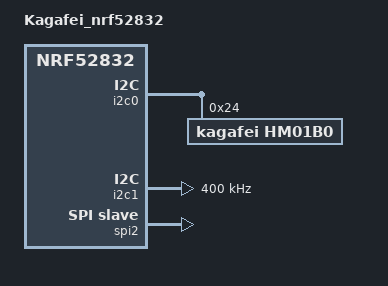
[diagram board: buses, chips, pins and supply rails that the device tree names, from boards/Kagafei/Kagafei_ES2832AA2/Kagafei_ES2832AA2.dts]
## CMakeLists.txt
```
cmake_minimum_required(VERSION 3.20.0)
find_package(Zephyr REQUIRED HINTS $ENV{ZEPHYR_BASE})

project(kagafei_config)

# Deliberately excluded: src/HM01B0/other_cap.c (legacy capture path,
# duplicate symbols), HM01B0_UART.c (uart0 is disabled), and main_old.c /
# main_bringup.c (kept for reference).  JPEGEncoder4Cortex-M encodes each
# frame on-device (with a rewritten fixed-point DCT); BLE streams KJPG frames.
target_sources(app PRIVATE
  src/main.c
  src/ble_manager.c
  src/i2c_diag.c
  src/spis_preinit.c
  src/imu_stream.c
  src/icm42686/icm42686.c
  src/HM01B0/HM01B0_CAPTURE.c
  src/HM01B0/HM01B0_SPI.c
  src/HM01B0/HM01B0_I2C.c
  src/HM01B0/HM01B0_CLK.c
  src/HM01B0/HM01B0_BLE.c
  JPEGEncoder4Cortex-M/jpegencoder.c
)

target_include_directories(app PRIVATE src src/HM01B0 src/icm42686 JPEGEncoder4Cortex-M)
```

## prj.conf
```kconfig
# Camera register access over TWIM0 (i2c0, DT alias "hmm").
CONFIG_I2C=y
CONFIG_CONSOLE=y
CONFIG_PRINTK=y

# Drivers report transport/init failures through the logging subsystem.
# Immediate mode keeps their output interleaved in order with the printk()
# status lines rather than being flushed later out of sequence.
CONFIG_LOG=y
CONFIG_LOG_MODE_IMMEDIATE=y

# Console goes out over SEGGER RTT on the J-Link; uart0 is disabled in the
# board DTS (its pins now carry the camera's HSYNC/VSYNC).
CONFIG_UART_CONSOLE=n
CONFIG_USE_SEGGER_RTT=y
CONFIG_RTT_CONSOLE=y

# MCLK generation for the HM01B0: TIMER3 -> PPI -> GPIOTE toggle on P0.18.
# The sensor's register block is clocked from MCLK, so this must run before I2C.
CONFIG_NRFX_TIMER=y
CONFIG_NRFX_GPIOTE=y
CONFIG_NRFX_GPPI=y

# Pixel capture: the camera masters SPIS2 (PCLKO=SCK, D0=MOSI, LVLD=CSN).
CONFIG_SPI=y
CONFIG_SPI_SLAVE=y

# k_malloc pool for the per-frame frame_item_t handed from capture to BLE.
CONFIG_HEAP_MEM_POOL_SIZE=2048

# Battery: while no central is connected, the capture/IMU/stream threads block
# on a k_event posted by the BLE connected callback (ble_manager.c) instead of
# polling, so the SoC sits in System ON idle between advertising events.
CONFIG_EVENTS=y

# BLE peripheral. The receiver (save_to_file_bt.py) scans for this exact name.
CONFIG_BT=y
CONFIG_BT_PERIPHERAL=y
CONFIG_BT_DEVICE_NAME="insect_cam"
CONFIG_BT_MAX_CONN=1

# Radio output power. +4 dBm is the maximum both the nRF52832 and the ES2832
# module support (datasheet 4.3: PRF typ 4 dBm), and the module is FCC/IC
# certified across its full power-control range, so this needs no re-cert.
#
# This build uses the SoftDevice Controller (CONFIG_BT_LL_SOFTDEVICE=y), not
# Zephyr's software link layer, so it is worth recording how this symbol
# actually reaches the radio: nrf/subsys/bluetooth/controller/radio_nrf5_txp.h
# maps the BT_CTLR_TX_PWR_* choice to RADIO_TXP_DEFAULT, and hci_driver.c calls
# sdc_default_tx_power_set(RADIO_TXP_DEFAULT) -- but only under
# `#if RADIO_TXP_DEFAULT != 0`. At the previous default (TX_PWR_0) that call
# compiled out entirely and the controller ran its own 0 dBm default, so the
# setting was invisible in a disassembly and easy to mistake for "unset".
CONFIG_BT_CTLR_TX_PWR_PLUS_4=y

# ble_manager.c registers .le_phy_updated/.le_data_len_updated callbacks,
# which only exist under the USER_* options. Enabling USER_* flips the
# AUTO_* defaults to n, so force them back on: the host must keep negotiating
# PHY/DLE itself — driving the PHY manually crashes this controller.
CONFIG_BT_USER_PHY_UPDATE=y
CONFIG_BT_AUTO_PHY_UPDATE=y
CONFIG_BT_USER_DATA_LEN_UPDATE=y
CONFIG_BT_AUTO_DATA_LEN_UPDATE=y

# Throughput: 244-byte notification payloads (ble_stage[244] in ble_manager.c)
# need ATT MTU 247 and 251-byte LL payloads end to end.
CONFIG_BT_L2CAP_TX_MTU=247
CONFIG_BT_BUF_ACL_TX_SIZE=251
CONFIG_BT_BUF_ACL_RX_SIZE=251
CONFIG_BT_CTLR_DATA_LENGTH_MAX=251

# Connection-parameter retries and re-advertise run as delayable work items
# that call into the BT host; the 1 KB default workqueue stack is marginal.
CONFIG_SYSTEM_WORKQUEUE_STACK_SIZE=2048

# The GATT write callback (on_rx_received) runs on the BT host RX thread, and
# with LOG_MODE_IMMEDIATE every printk formats the message and writes RTT on
# THAT thread's stack (~400 B for a two-arg message on Cortex-M3, more with 7).
# The 1 KB default overflowed into the MPU guard on the multi-arg link-info
# printk after a stream-start write. Nordic known issue DRGN-17695.
CONFIG_BT_RX_STACK_SIZE=2048

# main() never returns (it runs stream_photos()) and printks from there.  The
# thread analyzer measured a 920 B peak against the 1128 B default -- 232 B of
# headroom, the thinnest margin in the system once BT RX was fixed.
CONFIG_MAIN_STACK_SIZE=1536

# Measured peaks (thread analyzer, streaming + reconnect, 2026-07-28) for the
# next time these need sizing.  Re-measure by temporarily adding
# CONFIG_THREAD_NAME/THREAD_ANALYZER/THREAD_ANALYZER_AUTO:
#   BT RX WQ 1016/2048   main 920/1152   ble_stream 776/2048  sysworkq 784/2048
#   ble_mgr 632/1024     imu 632/1024    capture-line 392/768 bt_tx_proc 392/704
```

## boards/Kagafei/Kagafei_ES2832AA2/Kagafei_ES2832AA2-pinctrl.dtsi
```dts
&pinctrl {
	/* SPIS2 receives the camera's pixel stream: the HM01B0 is the SPI master.
	 * PCLKO drives SCK, D0 drives MOSI, and LVLD (HSYNC) doubles as CSN so
	 * each line burst frames one SPIS transfer. MISO is deliberately not
	 * assigned — nothing ever clocks data back to the camera.
	 */
	spis2_default: spis2_default {
		group1 {
			psels = <NRF_PSEL(SPIS_SCK, 0, 7)>,
				<NRF_PSEL(SPIS_MOSI, 0, 20)>,
				<NRF_PSEL(SPIS_CSN, 0, 6)>;
		};
	};

	spis2_sleep: spis2_sleep {
		group1 {
			psels = <NRF_PSEL(SPIS_SCK, 0, 7)>,
				<NRF_PSEL(SPIS_MOSI, 0, 20)>,
				<NRF_PSEL(SPIS_CSN, 0, 6)>;
			low-power-enable;
		};
	};

	i2c0_default: i2c0_default {
		group1 {
			/* SCL is P0.00/XL1, usable as GPIO because the LFCLK runs
			 * from the internal RC oscillator (see _defconfig).
			 */
			psels = <NRF_PSEL(TWIM_SCL, 0, 0)>,
				<NRF_PSEL(TWIM_SDA, 0, 5)>;
		};
	};

	i2c0_sleep: i2c0_sleep {
		group1 {
			psels = <NRF_PSEL(TWIM_SCL, 0, 0)>,
				<NRF_PSEL(TWIM_SDA, 0, 5)>;
			low-power-enable;
		};
	};

	/* Second I2C bus, for the ICM-42686-P IMU. Electrically separate from
	 * i2c0/the camera: TWIM1 is a different peripheral instance on different
	 * pins, so the two buses share nothing but the GPIO block.
	 */
	i2c1_default: i2c1_default {
		group1 {
			psels = <NRF_PSEL(TWIM_SCL, 0, 28)>,
				<NRF_PSEL(TWIM_SDA, 0, 2)>;
			/* Internal pull-ups (~13k) so the bus idles high even if the
			 * IMU breakout has no external ones fitted. Harmless in
			 * parallel with external pull-ups if it does.
			 */
			bias-pull-up;
		};
	};

	i2c1_sleep: i2c1_sleep {
		group1 {
			psels = <NRF_PSEL(TWIM_SCL, 0, 28)>,
				<NRF_PSEL(TWIM_SDA, 0, 2)>;
			low-power-enable;
		};
	};
};
```

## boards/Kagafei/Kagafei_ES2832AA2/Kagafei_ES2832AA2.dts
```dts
/dts-v1/;
#include <nordic/nrf52832_qfaa.dtsi>
#include <zephyr/dt-bindings/i2c/i2c.h>
#include "Kagafei_ES2832AA2-pinctrl.dtsi"

/ {
	model = "Kagafei_nrf52832";
	compatible = "Kagafei,Kagafei-ES2832AA2";

	chosen {
		zephyr,sram = &sram0;
		zephyr,flash = &flash0;
		zephyr,code-partition = &slot0_partition;
	};

	aliases {
		hmm = &hm01b0;
	};
};

&gpiote {
	status = "okay";
};

&gpio0 {
	/* Only P0.00-P0.10, P0.18, P0.20, P0.21 and P0.28 are bonded out. */
	gpio-reserved-ranges = <11 7>, <19 1>, <22 6>, <29 3>;
	status = "okay";
};

/* Disabled: P0.06/P0.08 now carry the camera's HSYNC/VSYNC and the console
 * runs over SEGGER RTT (prj.conf). No UART pins remain on this module.
 */
&uart0 {
	status = "disabled";
};

&i2c0 {
	compatible = "nordic,nrf-twim";
	status = "okay";
	pinctrl-0 = <&i2c0_default>;
	pinctrl-1 = <&i2c0_sleep>;
	pinctrl-names = "default", "sleep";

	/* HM01B0 register interface; I2C_DT_SPEC_GET(DT_ALIAS(hmm)) pulls the
	 * bus and 7-bit address from this node.
	 */
	hm01b0: hm01b0@24 {
		compatible = "kagafei,hm01b0";
		reg = <0x24>;
	};
};

/* TWIM1 -- the IMU's bus. Note i2c1 and spi1 are the same hardware instance
 * (0x40004000) on this SoC, so spi1 must stay disabled while this is in use.
 */
&i2c1 {
	compatible = "nordic,nrf-twim";
	status = "okay";
	clock-frequency = <I2C_BITRATE_FAST>;
	pinctrl-0 = <&i2c1_default>;
	pinctrl-1 = <&i2c1_sleep>;
	pinctrl-names = "default", "sleep";
};

/* SPIS2 -- the camera's pixel-data interface (HM01B0 is the SPI master).
 * Instance 2 is the only free serial block: instance 0 is TWIM0 (camera I2C)
 * and instance 1 is TWIM1 (IMU bus). The gendev child only exists so
 * SPI_DT_SPEC_GET in HM01B0_SPI.c can expand its spi-device properties.
 */
&spi2 {
	compatible = "nordic,nrf-spis";
	status = "okay";
	def-char = <0x00>;
	pinctrl-0 = <&spis2_default>;
	pinctrl-1 = <&spis2_sleep>;
	pinctrl-names = "default", "sleep";

	gendev: gendev@0 {
		compatible = "kagafei,spis-gendev";
		reg = <0>;
		spi-max-frequency = <4000000>;
	};
};

&flash0 {
	partitions {
		compatible = "fixed-partitions";
		#address-cells = <1>;
		#size-cells = <1>;

		boot_partition: partition@0 {
			label = "mcuboot";
			reg = <0x00000000 DT_SIZE_K(48)>;
		};

		slot0_partition: partition@c000 {
			label = "image-0";
			reg = <0x0000c000 DT_SIZE_K(220)>;
		};

		slot1_partition: partition@43000 {
			label = "image-1";
			reg = <0x00043000 DT_SIZE_K(220)>;
		};

		storage_partition: partition@7a000 {
			label = "storage";
			reg = <0x0007a000 DT_SIZE_K(24)>;
		};
	};
};
```

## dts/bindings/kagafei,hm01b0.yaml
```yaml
# HM01B0 register interface node. Exists so I2C_DT_SPEC_GET(DT_ALIAS(hmm))
# resolves the bus and 7-bit address; the driver lives in src/HM01B0, nothing
# in-tree binds to this compatible.
description: Himax HM01B0 image sensor control interface (registers over I2C)

compatible: "kagafei,hm01b0"

include: i2c-device.yaml
```

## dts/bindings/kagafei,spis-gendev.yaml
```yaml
# Generic SPIS peer device node. Exists so SPI_DT_SPEC_GET(DT_NODELABEL(gendev))
# has the spi-device properties (spi-max-frequency, duplex, frame-format) it
# expands; no driver binds to it — the camera is the SPI master.
description: Generic SPIS peer device for SPI_DT_SPEC_GET

compatible: "kagafei,spis-gendev"

include: spi-device.yaml
```

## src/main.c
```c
/*
 * Kagafei module: HM01B0 capture -> JPEG -> BLE live view.
 *
 * Flow: MCLK out on P0.18, sensor configured over i2c0, pixel lines land via
 * SPIS2 (PCLKO=SCK P0.07, D0=MOSI P0.20, LVLD=CSN P0.06), VSYNC on P0.08
 * frames each capture, and ble_manager streams each 160x119 8-bit grayscale
 * frame to the "insect_cam" GATT service (receiver: save_to_file_bt.py).
 * Wire format is selected by BLE_STREAM_RAW in ble_manager.c: KJPG = q90
 * on-device JPEG, ~3 fps, lossy (current); KRAW = every pixel byte verbatim,
 * lossless, ~1.1 fps.
 */

#include <zephyr/kernel.h>
#include <zephyr/device.h>
#include <zephyr/sys/printk.h>
#include <hal/nrf_power.h>

#include "HM01B0/HM01B0_def_values.h"
#include "HM01B0/HM01B0_CAPTURE.h"
#include "HM01B0/HM01B0_BLE.h"
#include "imu_stream.h"
#include "i2c_diag.h"

/* Temporary IMU-only bringup: skip the camera and BLE entirely and print
 * ICM-42686 samples over RTT.  Set to 0 to restore the normal stream. */
#define IMU_ONLY_TEST 0

/* Power-floor test: measure what the BOARD draws with the firmware doing
 * nothing at all.  Phase 1: 15 s of System ON idle -- only the kernel tick and
 * the devicetree-initialized peripherals (TWIM/SPIS/pinctrl), no camera, no
 * MCLK, no BLE, no IMU.  Phase 2: System OFF forever (~0.3 uA for a bare
 * nRF52832; a power cycle restarts).  Reading the phases on the PPK:
 *   - Phase 2 above ~10 uA  -> external hardware (LED, regulator, sensor
 *     rails, pin conflict), not the nRF and not firmware.
 *   - Phase 1 mA-level but phase 2 clean -> a DT-enabled peripheral or pin
 *     state inside the nRF.
 *   - Both clean            -> the draw is in the app path; bisect there.
 * Set to 0 to restore the normal stream. */
#define POWER_FLOOR_TEST 0

struct k_fifo my_fifo_ble;

/* An all-zero RESETREAS on a repeating reset means brownout/power-on: the
 * supply is sagging, which also keeps the sensor's rails from coming up.
 * Cleared after reading, since the bits are cumulative.
 */
static void report_reset_reason(void)
{
	uint32_t reas = nrf_power_resetreas_get(NRF_POWER);

	nrf_power_resetreas_clear(NRF_POWER, reas);

	printk("Reset reason  : 0x%08x", reas);

	if (reas == 0) {
		printk(" -- power-on / BROWNOUT (no other source flagged)");
	}
	if (reas & NRF_POWER_RESETREAS_RESETPIN_MASK) {
		printk(" RESETPIN");
	}
	if (reas & NRF_POWER_RESETREAS_DOG_MASK) {
		printk(" WATCHDOG");
	}
	if (reas & NRF_POWER_RESETREAS_SREQ_MASK) {
		printk(" SOFT_RESET");
	}
	if (reas & NRF_POWER_RESETREAS_LOCKUP_MASK) {
		printk(" CPU_LOCKUP");
	}
	if (reas & NRF_POWER_RESETREAS_OFF_MASK) {
		printk(" WAKE_FROM_OFF");
	}
	if (reas & NRF_POWER_RESETREAS_DIF_MASK) {
		printk(" DEBUG_IF");
	}

	printk("\n");
}

#if POWER_FLOOR_TEST

int main(void)
{
	printk("\n=== POWER FLOOR TEST: 15 s System ON idle, then System OFF ===\n");
	report_reset_reason();

	/* Force the lowest System ON state so phase 1 is the board's best case:
	 * GPIOTE fully disabled (the SPIS driver's anomaly-109 workaround claims a
	 * channel at init, and any Task/Event-mode channel holds the 16 MHz clock
	 * on through sleep), serial peripherals off, and the camera's MCLK input
	 * driven low so it cannot float (a floating CMOS input in the sensor can
	 * draw milliamps that the normal firmware, which drives this pin, never
	 * sees). */
	NRF_GPIOTE->INTENCLR = 0xFFFFFFFF;
	for (int ch = 0; ch < 8; ch++) {
		NRF_GPIOTE->CONFIG[ch] = 0;
	}
	NRF_SPIS2->ENABLE = 0;
	NRF_TWIM0->ENABLE = 0;
	NRF_TWIM1->ENABLE = 0;
	NRF_P0->PIN_CNF[PIN_MCLK] =
		(GPIO_PIN_CNF_DIR_Output << GPIO_PIN_CNF_DIR_Pos) |
		(GPIO_PIN_CNF_INPUT_Disconnect << GPIO_PIN_CNF_INPUT_Pos);
	NRF_P0->OUTCLR = BIT(PIN_MCLK);

	k_sleep(K_SECONDS(15));

	printk("Entering System OFF (power cycle to restart)\n");
	nrf_power_system_off(NRF_POWER);

	return 0;
}

#elif IMU_ONLY_TEST
#include "icm42686.h"
#include <zephyr/drivers/i2c.h>

/* A blind 1-byte read ACK-tests each address (nrfx TWIM rejects 0-length
 * transfers, so the usual empty-write probe is not an option here). */
static int i2c_scan(const struct device *dev, const char *name)
{
	int found = 0;

	printk("I2C scan %s:", name);
	for (uint8_t addr = 0x08; addr <= 0x77; addr++) {
		uint8_t b;

		if (i2c_read(dev, &b, 1, addr) == 0) {
			printk(" 0x%02X", addr);
			found++;
		}
	}
	printk("%s\n", found ? "" : " -- no ACKs");
	return found;
}

int main(void)
{
	printk("\n=== Kagafei IMU-only test (camera + BLE disabled) ===\n");
	report_reset_reason();

	i2c_diag_all();

	const struct device *i2c1_dev = DEVICE_DT_GET(DT_NODELABEL(i2c1));
	const struct device *i2c0_dev = DEVICE_DT_GET(DT_NODELABEL(i2c0));

	if (!device_is_ready(i2c1_dev)) {
		printk("i2c1 not ready\n");
		return -ENODEV;
	}
	/* Keep retrying so wiring/power can be wiggled while watching RTT.
	 * Both buses are scanned every pass (not one-shot at boot, which the
	 * 1 KB RTT buffer can drop before the host attaches): camera should
	 * ACK at 0x24 if its rail is up (it answers I2C without MCLK). */
	while (icm42686_init() != 0) {
		if (device_is_ready(i2c0_dev)) {
			i2c_scan(i2c0_dev, "i2c0 (camera bus)");
		}
		i2c_scan(i2c1_dev, "i2c1 (IMU bus, SCL P0.28 SDA P0.02)");
		printk("ICM-42686 not found; retrying in 2 s\n");
		k_msleep(2000);
	}

	printk("ICM-42686 found at 0x%02X, printing samples at 10 Hz\n",
	       icm42686_get_addr());

	for (uint32_t n = 0;; n++) {
		int16_t t, a[3], g[3];

		/* Re-confirm the camera bus every ~5 s while streaming. */
		if (n % 50 == 0 && device_is_ready(i2c0_dev)) {
			i2c_scan(i2c0_dev, "i2c0 (camera bus)");
		}

		if (icm42686_read_sample(&t, a, g) != 0) {
			printk("[%5u] read error\n", n);
		} else {
			/* Temp degC = raw/132.48 + 25, printed in centi-degC */
			int32_t temp_cc = (int32_t)t * 10000 / 13248 + 2500;

			printk("[%5u] accel mg: %6d %6d %6d | gyro dps*10: %6d %6d %6d | temp %d.%02u C\n",
			       n,
			       (int32_t)a[0] * 1000 / ICM42686_ACCEL_LSB_PER_G,
			       (int32_t)a[1] * 1000 / ICM42686_ACCEL_LSB_PER_G,
			       (int32_t)a[2] * 1000 / ICM42686_ACCEL_LSB_PER_G,
			       (int32_t)g[0] * 100 / ICM42686_GYRO_LSB_PER_DPS_X10,
			       (int32_t)g[1] * 100 / ICM42686_GYRO_LSB_PER_DPS_X10,
			       (int32_t)g[2] * 100 / ICM42686_GYRO_LSB_PER_DPS_X10,
			       temp_cc / 100,
			       (unsigned)((temp_cc < 0 ? -temp_cc : temp_cc) % 100));
		}
		k_msleep(100);
	}

	return 0;
}

#else /* !IMU_ONLY_TEST: normal camera + IMU + BLE stream */

int main(void)
{
	printk("\n=== Kagafei camera + BLE ===\n");
	report_reset_reason();

	/* Before any transfer: if the lines cannot idle high, every probe below
	 * would just report -ETIMEDOUT without saying why. */
	i2c_diag_all();

	if (!device_is_ready(dev_i2c.bus)   ||
	    !device_is_ready(gpio0_dev)     ||
	    !device_is_ready(spis_dev.bus)) {
		printk("Device not ready\n");
		return -ENODEV;
	}

	k_fifo_init(&my_fifo_ble);
	/* BLE-only live view: feed frames to BLE alone so the capture loop isn't
	 * gated by (or competing for CPU with) any other consumer.
	 */
	setup_cam_capture(&my_fifo_ble, NULL);
	hm_ble_init(&my_fifo_ble);

	/* Spot-check that init_cam()'s configuration actually landed. */
	uint8_t addr_readback[2];
	uint8_t val;

	addr_readback[0] = 0x03; addr_readback[1] = 0x50;
	if (i2c_write_read_dt(&dev_i2c, addr_readback, 2, &val, 1) == 0) {
		printk("QVGA win (0x0350) = 0x%02X\n", val);
	}

	addr_readback[0] = 0x03; addr_readback[1] = 0x81;
	if (i2c_write_read_dt(&dev_i2c, addr_readback, 2, &val, 1) == 0) {
		printk("BIN_RDOUT_Y (0x0381) = 0x%02X\n", val);
	}

	addr_readback[0] = 0x10; addr_readback[1] = 0x06;
	if (i2c_write_read_dt(&dev_i2c, addr_readback, 2, &val, 1) == 0) {
		printk("IMG_MODE_SEL (0x1006) = 0x%02X\n", val);
	}

	/* IMU is optional: a missing/dead ICM-42686 must not take down the camera. */
	if (imu_stream_start() != 0) {
		printk("ICM-42686 not available -- streaming camera only\n");
	}

	printk("Starting capture loop\n");
	stream_photos();

	return 0;
}

#endif /* IMU_ONLY_TEST */
```

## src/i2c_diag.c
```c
#include "i2c_diag.h"

#include <zephyr/kernel.h>
#include <zephyr/sys/printk.h>
#include <nrfx.h>
#include <hal/nrf_gpio.h>
#include <hal/nrf_twim.h>

/* Pin assignments mirror the pinctrl groups in the board DTS:
 *   i2c0 (HM01B0)   SCL P0.00  SDA P0.05   -- no bias-pull-up, external only
 *   i2c1 (ICM-42686) SCL P0.28 SDA P0.02   -- bias-pull-up set in pinctrl
 */
#define I2C0_SCL_PIN 0
#define I2C0_SDA_PIN 5
#define I2C1_SCL_PIN 28
#define I2C1_SDA_PIN 2

/* The nRF52832's internal pull resistors are ~13 kohm (datasheet RPU/RPD,
 * typ).  I2C pull-ups are normally 2.2k-10k, so an external pull-up beats the
 * internal pull-down and the line still reads high -- that asymmetry is what
 * makes the three states below distinguishable.
 *
 * Settling: 13k into a few hundred pF of bus capacitance is a ~1-2 us time
 * constant, so 200 us is many time constants even for a heavily loaded bus. */
#define SETTLE_US 200

enum line_state {
	LINE_STUCK_LOW,   /* held low even against the internal pull-up */
	LINE_NO_PULLUP,   /* floats; no external pull-up strong enough to see */
	LINE_PULLED_UP,   /* external pull-up present and healthy */
};

static uint32_t read_with(uint32_t pin, nrf_gpio_pin_pull_t pull)
{
	nrf_gpio_cfg_input(pin, pull);
	k_busy_wait(SETTLE_US);
	return nrf_gpio_pin_read(pin);
}

/* Order matters: the raw read has to happen before we charge the pin with an
 * internal pull, otherwise a floating line reports whatever the last pull left
 * on it. */
static enum line_state probe_line(uint32_t pin, uint32_t *raw,
				  uint32_t *with_pu, uint32_t *with_pd)
{
	*raw     = read_with(pin, NRF_GPIO_PIN_NOPULL);
	*with_pu = read_with(pin, NRF_GPIO_PIN_PULLUP);
	*with_pd = read_with(pin, NRF_GPIO_PIN_PULLDOWN);

	if (*with_pu == 0) {
		/* 13k to VDD could not lift it: something is actively driving
		 * low -- a slave mid-transfer, a stuck device, or a short. */
		return LINE_STUCK_LOW;
	}
	if (*with_pd == 1) {
		/* Survived a 13k pull-down, so an external pull-up is winning. */
		return LINE_PULLED_UP;
	}
	return LINE_NO_PULLUP;
}

static const char *state_str(enum line_state s)
{
	switch (s) {
	case LINE_PULLED_UP: return "PULLED UP (external)";
	case LINE_NO_PULLUP: return "NO PULL-UP (floating)";
	default:             return "STUCK LOW (driven)";
	}
}

static enum line_state report_line(const char *name, uint32_t pin)
{
	uint32_t raw, pu, pd;
	enum line_state st = probe_line(pin, &raw, &pu, &pd);

	printk("    %s P0.%02u : raw=%u pu=%u pd=%u  -> %s\n",
	       name, pin, raw, pu, pd, state_str(st));
	return st;
}

static void bus_diag(const char *label, NRF_TWIM_Type *twim,
		     uint32_t scl_pin, uint32_t sda_pin)
{
	/* Take the pins back from TWIM, then hand them over exactly as found. */
	uint32_t saved_enable = twim->ENABLE;
	uint32_t saved_scl    = NRF_P0->PIN_CNF[scl_pin];
	uint32_t saved_sda    = NRF_P0->PIN_CNF[sda_pin];

	twim->ENABLE = 0;

	printk("  %s\n", label);
	enum line_state scl = report_line("SCL", scl_pin);
	enum line_state sda = report_line("SDA", sda_pin);

	if (scl == LINE_PULLED_UP && sda == LINE_PULLED_UP) {
		printk("    verdict: bus OK electrically "
		       "(a failing transfer means the device is absent or unpowered)\n");
	} else if (scl == LINE_STUCK_LOW || sda == LINE_STUCK_LOW) {
		printk("    verdict: LINE HELD LOW -- a slave is hung or a line is "
		       "shorted to GND; clock out 9 pulses to recover, or power-cycle\n");
	} else {
		printk("    verdict: NO PULL-UPS -- the bus can never idle high, so every "
		       "transfer times out; fit external resistors or set bias-pull-up\n");
	}

	NRF_P0->PIN_CNF[scl_pin] = saved_scl;
	NRF_P0->PIN_CNF[sda_pin] = saved_sda;
	twim->ENABLE = saved_enable;
}

void i2c_diag_all(void)
{
	printk("\n=== I2C line check ===\n");
	printk("  raw/pu/pd = level read with no pull / internal pull-up / "
	       "internal pull-down (~13k)\n");

	bus_diag("i2c0  HM01B0 camera", NRF_TWIM0, I2C0_SCL_PIN, I2C0_SDA_PIN);
	bus_diag("i2c1  ICM-42686 IMU", NRF_TWIM1, I2C1_SCL_PIN, I2C1_SDA_PIN);
	printk("\n");
}
```

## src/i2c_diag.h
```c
#ifndef I2C_DIAG_H
#define I2C_DIAG_H

/* Electrical check of the two I2C buses before any transfer is attempted.
 *
 * A TWIM transfer that ends in -ETIMEDOUT cannot distinguish "no pull-up
 * resistor fitted" from "a slave is holding the line low" from "the device is
 * simply absent" -- in all three cases the controller just never sees the bus
 * go high.  This probes the lines directly with the SoC's own pull resistors
 * and reports which of those it actually is.
 *
 * Safe to call with the TWIM drivers already initialised: each bus is
 * disabled, probed, and restored to the exact configuration it had.
 */
void i2c_diag_all(void);

#endif /* I2C_DIAG_H */
```

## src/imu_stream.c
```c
/* 100 Hz ICM-42686 sampler feeding a drop-oldest ring that the BLE streaming
 * thread drains into KIMU packets between camera frames (ble_stream_imu in
 * ble_manager.c).  The sensor's ODR stays at 1 kHz; reading every 10 ms is
 * the decimation down to the ~100 Hz the link carries.
 */

#include <zephyr/kernel.h>
#include <zephyr/spinlock.h>
#include <zephyr/sys/printk.h>

#include "imu_stream.h"
#include "icm42686.h"

/* Connection gate (ble_manager.c): sampling pauses while no central is
 * connected -- nothing drains the ring then, so running the IMU and the 100 Hz
 * I2C traffic would only burn battery. */
extern bool ble_is_connected(void);
extern void ble_wait_for_connection(void);

#define IMU_SAMPLE_PERIOD_MS 10

/* 128 * 16 B = 2 KB: 1.28 s of backlog.  Frame gaps are 100-330 ms and the
 * capture stall watchdog is 500 ms, so only a BLE link that has been wedged
 * for over a second overflows this -- at which point the oldest samples are
 * stale and dropping them is the right call. */
#define IMU_RING_SIZE 128

static struct imu_sample ring[IMU_RING_SIZE];
static uint32_t ring_head;   /* next write slot */
static uint32_t ring_tail;   /* next read slot */
static uint32_t ring_count;
static struct k_spinlock ring_lock;

static bool imu_active;
static int16_t last_temp_raw;
static uint32_t dropped_total;
static uint32_t read_errors;

K_THREAD_STACK_DEFINE(imu_stack, 1024);
static struct k_thread imu_thread_data;

static void ring_push(const struct imu_sample *s)
{
	uint32_t dropped = 0;

	k_spinlock_key_t key = k_spin_lock(&ring_lock);
	if (ring_count == IMU_RING_SIZE) {
		ring_tail = (ring_tail + 1U) % IMU_RING_SIZE;   /* drop oldest */
		ring_count--;
		dropped = ++dropped_total;
	}
	ring[ring_head] = *s;
	ring_head = (ring_head + 1U) % IMU_RING_SIZE;
	ring_count++;
	k_spin_unlock(&ring_lock, key);

	if (dropped != 0 && (dropped % 256U) == 1U) {
		printk("IMU ring overflow (%u dropped total)\n", dropped);
	}
}

static void ring_reset(void)
{
	k_spinlock_key_t key = k_spin_lock(&ring_lock);
	ring_head = 0;
	ring_tail = 0;
	ring_count = 0;
	k_spin_unlock(&ring_lock, key);
}

bool imu_stream_pop(struct imu_sample *out)
{
	bool ok = false;

	k_spinlock_key_t key = k_spin_lock(&ring_lock);
	if (ring_count > 0) {
		*out = ring[ring_tail];
		ring_tail = (ring_tail + 1U) % IMU_RING_SIZE;
		ring_count--;
		ok = true;
	}
	k_spin_unlock(&ring_lock, key);

	return ok;
}

size_t imu_stream_pending(void)
{
	k_spinlock_key_t key = k_spin_lock(&ring_lock);
	uint32_t n = ring_count;
	k_spin_unlock(&ring_lock, key);

	return n;
}

bool imu_stream_active(void)
{
	return imu_active;
}

int16_t imu_stream_last_temp_raw(void)
{
	return last_temp_raw;
}

static void imu_thread(void *p1, void *p2, void *p3)
{
	ARG_UNUSED(p1); ARG_UNUSED(p2); ARG_UNUSED(p3);

	int64_t next = k_uptime_get();

	for (;;) {
		if (!ble_is_connected()) {
			/* Park: sensor to standby, drop the now-stale backlog (a
			 * reconnect must not open with seconds-old samples), and
			 * sleep until the next central. */
			icm42686_sleep();
			ring_reset();
			ble_wait_for_connection();
			icm42686_wake();
			next = k_uptime_get();
			continue;
		}

		next += IMU_SAMPLE_PERIOD_MS;
		/* Drift-free pacing; if higher-priority work held us off for a
		 * while, resync instead of burst-reading to catch up. */
		if (next < k_uptime_get() - 2 * IMU_SAMPLE_PERIOD_MS) {
			next = k_uptime_get();
		}
		k_sleep(K_TIMEOUT_ABS_MS(next));

		struct imu_sample s;
		int16_t t;

		if (icm42686_read_sample(&t, s.accel, s.gyro) == 0) {
			s.ts_ms = (uint32_t)k_uptime_get();
			last_temp_raw = t;
			ring_push(&s);
		} else if ((++read_errors % 100U) == 1U) {
			printk("IMU read error (%u total)\n", read_errors);
		}
	}
}

int imu_stream_start(void)
{
	int err = icm42686_init();

	if (err != 0) {
		return err;
	}

	imu_active = true;
	/* Prio 4: below the capture line thread (0) and the BLE threads (3),
	 * so sampling can never delay a line transfer or a notify.  Each
	 * sample carries its own timestamp, so jitter here is harmless. */
	k_thread_create(&imu_thread_data, imu_stack, K_THREAD_STACK_SIZEOF(imu_stack),
			imu_thread, NULL, NULL, NULL,
			K_PRIO_PREEMPT(4), 0, K_NO_WAIT);

	return 0;
}
```

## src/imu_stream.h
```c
#ifndef IMU_STREAM_H
#define IMU_STREAM_H

#include <stdbool.h>
#include <stddef.h>
#include <stdint.h>

/* One decimated IMU sample: uptime timestamp plus raw counts straight from
 * the ICM-42686 (accel 2048 LSB/g, gyro 16.4 LSB/dps -- see icm42686.h). */
struct imu_sample {
	uint32_t ts_ms;
	int16_t accel[3];
	int16_t gyro[3];
};

/* Bring up the ICM-42686 on i2c1 and start the 100 Hz sampling thread.
 * Returns 0 on success, negative errno if the IMU is absent/unresponsive.
 * Failure is non-fatal: without it the app just streams camera-only. */
int imu_stream_start(void);

bool imu_stream_active(void);

size_t imu_stream_pending(void);

/* Pop the oldest buffered sample. Returns false if the ring is empty. */
bool imu_stream_pop(struct imu_sample *out);

/* Raw temperature register of the most recent sample. */
int16_t imu_stream_last_temp_raw(void);

#endif /* IMU_STREAM_H */
```

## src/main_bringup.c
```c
#include <zephyr/kernel.h>
#include <zephyr/device.h>
#include <zephyr/drivers/i2c.h>
#include <zephyr/sys/printk.h>
#include <hal/nrf_gpio.h>
#include <hal/nrf_power.h>

#include "HM01B0_CLK.h"
#include "icm42686.h"

#define HM01B0_ADDR 0x24

/* Camera bus: i2c0 / TWIM0. */
#define PIN_SCL 0
#define PIN_SDA 5

/* IMU bus: i2c1 / TWIM1. A separate peripheral instance on separate pins, so
 * nothing here can disturb the camera's bus.
 */
#define PIN_IMU_SCL 28
#define PIN_IMU_SDA 2

/* HM01B0 uses 16-bit register addresses with 8-bit data (datasheet §7). */
#define REG_MODEL_ID_H  0x0000
#define REG_MODEL_ID_L  0x0001
#define REG_SILICON_REV 0x0002
#define REG_FRAME_COUNT 0x0005
#define REG_PIXEL_ORDER 0x0006
#define REG_MODE_SELECT 0x0100

#define HM01B0_MODEL_ID 0x01B0

/* How long to let MCLK run before touching the sensor over I2C. At the 2.67 MHz
 * MCLK we generate, this is several hundred thousand clocks -- far more than the
 * sensor's internal reset needs.
 */
#define HM01B0_MCLK_SETTLE_MS 100

static const struct device *const i2c_dev = DEVICE_DT_GET(DT_NODELABEL(i2c0));
static const struct device *const imu_i2c_dev = DEVICE_DT_GET(DT_NODELABEL(i2c1));

static int hm01b0_read_reg(uint16_t reg, uint8_t *val)
{
	uint8_t addr_buf[2] = { reg >> 8, reg & 0xFF };

	return i2c_write_read(i2c_dev, HM01B0_ADDR,
			      addr_buf, sizeof(addr_buf), val, 1);
}

/* The board was seen rebooting every few seconds with no fault banner, which a
 * caught CPU fault would have printed.  RESETREAS says why: a brownout or
 * power-on reset leaves every bit clear, so an all-zero value here on a repeating
 * reset means the supply is sagging -- which would also keep the sensor's rails
 * from ever coming up.  Cleared after reading, since the bits are cumulative.
 */
static void report_reset_reason(void)
{
	uint32_t reas = nrf_power_resetreas_get(NRF_POWER);

	nrf_power_resetreas_clear(NRF_POWER, reas);

	printk("Reset reason  : 0x%08x", reas);

	if (reas == 0) {
		printk(" -- power-on / BROWNOUT (no other source flagged)");
	}
	if (reas & NRF_POWER_RESETREAS_RESETPIN_MASK) {
		printk(" RESETPIN");
	}
	if (reas & NRF_POWER_RESETREAS_DOG_MASK) {
		printk(" WATCHDOG");
	}
	if (reas & NRF_POWER_RESETREAS_SREQ_MASK) {
		printk(" SOFT_RESET");
	}
	if (reas & NRF_POWER_RESETREAS_LOCKUP_MASK) {
		printk(" CPU_LOCKUP");
	}
	if (reas & NRF_POWER_RESETREAS_OFF_MASK) {
		printk(" WAKE_FROM_OFF");
	}
	if (reas & NRF_POWER_RESETREAS_DIF_MASK) {
		printk(" DEBUG_IF");
	}

	printk("\n");
}

/* The firmware previously *claimed* MCLK was running purely because hm_clk_out()
 * returned without error.  Sample the pin instead: at 2.67 MHz a tight read loop
 * sees both levels if the timer/PPI/GPIOTE chain is really toggling, and a
 * constant level if it is not.
 */
static bool mclk_is_toggling(void)
{
	unsigned int high = 0, low = 0;

	for (int i = 0; i < 1000; i++) {
		if (nrf_gpio_pin_read(PIN_MCLK)) {
			high++;
		} else {
			low++;
		}
	}

	/* This loop samples far slower than MCLK and is not phase-locked to it, so the
	 * high/low split is aliased and says nothing reliable about duty cycle.  Treat it
	 * strictly as edges-present vs DC-stuck; use a scope to judge the waveform.
	 */
	printk("MCLK (P0.%02d)  : %u high / %u low over 1000 aliased samples -- %s\n",
	       PIN_MCLK, high, low,
	       (high && low) ? "edges present (duty NOT measurable here)" : "DC-STUCK");

	return high && low;
}

/* TWIM leaves its pins with the input buffer connected, so the idle bus level can
 * be read straight off the pads.  With pull-ups fitted, both lines must sit high
 * when nobody is driving them.  A line stuck low means something is clamping it.
 */
static void bus_idle_levels(uint8_t scl_pin, uint8_t sda_pin)
{
	int scl = nrf_gpio_pin_read(scl_pin);
	int sda = nrf_gpio_pin_read(sda_pin);

	printk("Bus idle      : SCL(P0.%02d)=%d  SDA(P0.%02d)=%d -- %s\n",
	       scl_pin, scl, sda_pin, sda,
	       (scl && sda) ? "both HIGH (pull-ups OK, bus free)" : "LINE HELD LOW");
}

static void bus_scan(const struct device *dev, uint8_t scl_pin, uint8_t sda_pin)
{
	int found = 0;

	printk("\nScanning %s (SCL=P0.%02d, SDA=P0.%02d)...\n",
	       dev->name, scl_pin, sda_pin);

	for (uint8_t addr = 0x08; addr <= 0x77; addr++) {
		uint8_t dummy;

		/* nRF TWIM cannot issue a zero-length write, so probe each
		 * address with a 1-byte read instead.
		 */
		if (i2c_read(dev, &dummy, 1, addr) == 0) {
			printk("  device found at 0x%02x\n", addr);
			found++;
		}
	}

	printk("Scan complete: %d device(s) responded.\n\n", found);
}

static int hm01b0_check(void)
{
	uint8_t id_h, id_l;
	uint16_t model_id;
	int err;

	static const struct {
		uint16_t reg;
		const char *name;
	} status_regs[] = {
		{ REG_SILICON_REV, "SILICON_REV" },
		{ REG_MODE_SELECT, "MODE_SELECT" },
		{ REG_FRAME_COUNT, "FRAME_COUNT" },
		{ REG_PIXEL_ORDER, "PIXEL_ORDER" },
	};

	printk("\n=== HM01B0 camera status check (i2c0) ===\n");

	/* The sensor clocks its register block from MCLK, so it will not ACK on I2C
	 * until the clock is running AND its internal power-on reset has run to
	 * completion -- and that reset is itself clocked from MCLK, so the wait only
	 * starts counting once the clock does. Probing too early looks exactly like a
	 * dead sensor: a clean NAK from a part that is simply not listening yet.
	 *
	 * HM01B0_MCLK_SETTLE_MS is deliberately generous rather than tuned to the
	 * datasheet minimum -- this is a one-shot bring-up check, so there is nothing
	 * to be gained by shaving it, and a too-short wait would hand us a false
	 * negative that reads like a hardware fault.
	 */
	hm_clk_out();
	k_msleep(HM01B0_MCLK_SETTLE_MS);

	if (!mclk_is_toggling()) {
		printk("      MCLK is not running -- the sensor cannot ACK on I2C without it.\n"
		       "      Fault is on the MCU side (timer/PPI/GPIOTE), not the camera.\n");
	}

	if (!device_is_ready(i2c_dev)) {
		printk("ERROR: %s is not ready\n", i2c_dev->name);
		return -ENODEV;
	}

	bus_idle_levels(PIN_SCL, PIN_SDA);

	err = i2c_configure(i2c_dev,
			    I2C_SPEED_SET(I2C_SPEED_STANDARD) | I2C_MODE_CONTROLLER);
	if (err) {
		printk("ERROR: i2c_configure failed (%d)\n", err);
		return err;
	}

	bus_scan(i2c_dev, PIN_SCL, PIN_SDA);

	err = hm01b0_read_reg(REG_MODEL_ID_H, &id_h);
	if (err) {
		printk("FAIL: no ACK from 0x%02x reading MODEL_ID (err %d)\n",
		       HM01B0_ADDR, err);
		printk("      The HM01B0 register block is clocked from MCLK; with\n");
		printk("      no MCLK driven the sensor will not ACK even if SDA/SCL\n");
		printk("      are wired correctly. Also check the AVDD/IOVDD/DVDD rails.\n");
		return err;
	}

	err = hm01b0_read_reg(REG_MODEL_ID_L, &id_l);
	if (err) {
		printk("FAIL: MODEL_ID_L read failed (err %d)\n", err);
		return err;
	}

	model_id = ((uint16_t)id_h << 8) | id_l;

	printk("MODEL_ID   : 0x%04x (expected 0x%04x) -- %s\n",
	       model_id, HM01B0_MODEL_ID,
	       model_id == HM01B0_MODEL_ID ? "OK" : "MISMATCH");

	for (size_t i = 0; i < ARRAY_SIZE(status_regs); i++) {
		uint8_t val;

		err = hm01b0_read_reg(status_regs[i].reg, &val);
		if (err) {
			printk("%-11s: read failed (err %d)\n",
			       status_regs[i].name, err);
			continue;
		}

		printk("%-11s: 0x%02x\n", status_regs[i].name, val);
	}

	return 0;
}

/* Integer square root, so the gravity check below needs neither libm nor
 * floating-point printf support.
 */
static uint32_t isqrt_u64(uint64_t value)
{
	uint64_t x = value;
	uint64_t y = (x + 1) / 2;

	if (value == 0) {
		return 0;
	}

	while (y < x) {
		x = y;
		y = (x + value / x) / 2;
	}

	return (uint32_t)x;
}

static int icm42686_check(void)
{
	int16_t temp_raw, accel[3], gyro[3];
	int16_t first_accel[3] = { 0 };
	uint8_t who_am_i = 0;
	bool moved = false;
	uint32_t mag_mg = 0;
	int err;

	printk("\n=== ICM-42686-P IMU status check (i2c1) ===\n");

	if (!device_is_ready(imu_i2c_dev)) {
		printk("ERROR: %s is not ready\n", imu_i2c_dev->name);
		return -ENODEV;
	}

	bus_idle_levels(PIN_IMU_SCL, PIN_IMU_SDA);
	bus_scan(imu_i2c_dev, PIN_IMU_SCL, PIN_IMU_SDA);

	err = icm42686_read_who_am_i(&who_am_i);
	if (err) {
		printk("FAIL: no ACK on the IMU bus (err %d)\n", err);
		printk("      Check that SCL is on P0.%02d, SDA on P0.%02d, that the IMU\n"
		       "      has VDD/VDDIO, and that both lines have pull-ups.\n",
		       PIN_IMU_SCL, PIN_IMU_SDA);
		return err;
	}

	printk("WHO_AM_I   : 0x%02x (expected 0x%02x) -- %s\n",
	       who_am_i, ICM42686_WHO_AM_I_VALUE,
	       who_am_i == ICM42686_WHO_AM_I_VALUE ? "OK" : "MISMATCH");

	err = icm42686_init();
	if (err) {
		printk("FAIL: icm42686_init() returned %d\n", err);
		return err;
	}

	printk("IMU address: 0x%02x\n", icm42686_get_addr());
	printk("\n  # |    temp |      accel X/Y/Z (mg) |     gyro X/Y/Z (mdps)\n");
	printk("----+---------+-----------------------+----------------------\n");

	for (int i = 0; i < 5; i++) {
		int32_t temp_c_x100;

		err = icm42686_read_sample(&temp_raw, accel, gyro);
		if (err) {
			printk("FAIL: sample read failed (err %d)\n", err);
			return err;
		}

		/* Datasheet §11.13: T[degC] = TEMP_DATA / 132.48 + 25. */
		temp_c_x100 = ((int32_t)temp_raw * 10000) / 13248 + 2500;

		int32_t ax = ((int32_t)accel[0] * 1000) / ICM42686_ACCEL_LSB_PER_G;
		int32_t ay = ((int32_t)accel[1] * 1000) / ICM42686_ACCEL_LSB_PER_G;
		int32_t az = ((int32_t)accel[2] * 1000) / ICM42686_ACCEL_LSB_PER_G;

		int32_t gx = ((int32_t)gyro[0] * 10000) / ICM42686_GYRO_LSB_PER_DPS_X10;
		int32_t gy = ((int32_t)gyro[1] * 10000) / ICM42686_GYRO_LSB_PER_DPS_X10;
		int32_t gz = ((int32_t)gyro[2] * 10000) / ICM42686_GYRO_LSB_PER_DPS_X10;

		printk("  %d | %3d.%02d C | %6d %6d %6d | %6d %6d %6d\n",
		       i, temp_c_x100 / 100, temp_c_x100 % 100,
		       ax, ay, az, gx, gy, gz);

		/* Total acceleration should read ~1 g while the board sits still,
		 * whatever its orientation. That is the check that actually proves
		 * the MEMS is converting -- WHO_AM_I only proves the bus works.
		 */
		mag_mg = isqrt_u64((uint64_t)(ax * ax) +
				   (uint64_t)(ay * ay) +
				   (uint64_t)(az * az));

		if (i == 0) {
			first_accel[0] = accel[0];
			first_accel[1] = accel[1];
			first_accel[2] = accel[2];
		} else if (accel[0] != first_accel[0] ||
			   accel[1] != first_accel[1] ||
			   accel[2] != first_accel[2]) {
			moved = true;
		}

		k_msleep(100);
	}

	printk("\n|accel|    : %u mg -- %s\n", mag_mg,
	       (mag_mg > 700 && mag_mg < 1300)
		       ? "consistent with 1 g, sensor is converting"
		       : "NOT ~1 g (check the part is level/still, and the rails)");

	/* Identical counts on every read means the register block is handing back a
	 * frozen value rather than fresh conversions -- noise alone should move the
	 * low bits between samples.
	 */
	printk("Live data  : %s\n",
	       moved ? "samples vary between reads (ADC is running)"
		     : "IDENTICAL across all reads -- data looks frozen");

	return 0;
}

int main(void)
{
	printk("\n=== Kagafei bring-up ===\n");

	report_reset_reason();

	/* Each check reports its own pass/fail; a dead camera must not stop us from
	 * getting to the IMU, since they are on independent buses.
	 */
	(void)hm01b0_check();
	(void)icm42686_check();

	printk("\n=== done ===\n");

	return 0;
}
```

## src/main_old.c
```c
/*
* HM01B0 capture example – interrupt driven, DMA-ready version
*
* Copyright (c) 2024 Open Pixel Systems
* SPDX-License-Identifier: Apache-2.0
*/




#include <zephyr/kernel.h>
#include <zephyr/device.h>
#include <zephyr/devicetree.h>
#include <zephyr/drivers/gpio.h>


#include <zephyr/drivers/uart.h>
#include <zephyr/sys/printk.h>
#include <zephyr/sys/atomic.h>
#include <hal/nrf_power.h>
#include <hal/nrf_clock.h>



//#include <drivers/spi/spi_nrfx_spis.h>

#include <zephyr/drivers/pwm.h>




#include "HM01B0/HM01B0_def_values.h"
#include "HM01B0/HM01B0_CAPTURE.h"
#include "HM01B0/HM01B0_BLE.h"

struct k_fifo my_fifo_uart;
struct k_fifo my_fifo_ble;

/* Frame consumer for this build:
 *   1 = UART @ 921600 on uart0 (receiver: "save_to_file copy3.py") — wire does
 *       ~92 KB/s, so a 19040 B frame takes ~207 ms => ~4.5 fps pipeline test,
 *       free of the macOS BLE radio cap.  Requires CONFIG_UART_CONSOLE=n in
 *       prj.conf (set) so printk/log bytes can't corrupt the image stream —
 *       console + logs go to RTT instead.
 *   0 = BLE live view (receiver: save_to_file_bt.py).
 * Only one consumer at a time: with both attached, the slower one gates the
 * frame rate for the other. */
#define STREAM_OVER_UART 0

int main(void)
{

    //printk("HM01B0 Capture Example\n");
#if STREAM_OVER_UART
    k_fifo_init(&my_fifo_uart);
    setup_cam_capture(&my_fifo_uart, NULL);
    setup_cam_capture_fifo(&my_fifo_uart);
#else
    k_fifo_init(&my_fifo_ble);
    /* BLE-only live view: feed frames to BLE alone so the capture loop isn't gated by
     * (or competing for CPU with) the UART image stream. */
    setup_cam_capture(&my_fifo_ble, NULL);
    hm_ble_init(&my_fifo_ble);
#endif
    /* leave this on forever */
    //spispec.config = spi_cfg_pwr1;
    //hm_ble_init(&my_fifo);
    if (!device_is_ready(uart_dev)      ||
        !device_is_ready(dev_i2c.bus)   ||
        !device_is_ready(gpio0_dev)     ||
        !device_is_ready(spis_dev.bus)) {
        printk("Device not ready\n");
        return -ENODEV;
    }


    //run_peripheral_step(0);
/* --- CSN pin -------------------------------------------------------- */
    uint8_t addr_readback[2];
    uint8_t val;

    /* BIT_CONTROL should read back 0x20 for 1-bit serial mode. */
    addr_readback[0] = 0x03; addr_readback[1] = 0x50;
    if (i2c_write_read_dt(&dev_i2c, addr_readback, 2, &val, 1) == 0)
        printk("QVGA win (0x0350) = 0x%02X\n", val);

    /* OSC_CLK_DIV should read back 0x00 (MSB-first, ÷8, non-gated). */
    addr_readback[0] = 0x03; addr_readback[1] = 0x81;
    if (i2c_write_read_dt(&dev_i2c, addr_readback, 2, &val, 1) == 0)
        printk("BIN_RDOUT_Y (0x0381) = 0x%02X\n", val);

    /* TEST_PATTERN_MODE – should be 0x11 (walking 1 enabled) */
    addr_readback[0] = 0x10; addr_readback[1] = 0x06;
    if (i2c_write_read_dt(&dev_i2c, addr_readback, 2, &val, 1) == 0)
        printk("IMG_MODE_SEL (0x1006) = 0x%02X\n", val);
    /* ------------------------- main loop ---------------------------------- */
    printk("Starting capture loop\n");
    stream_photos();
}
```

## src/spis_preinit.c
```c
#include <zephyr/device.h>
#include <zephyr/drivers/gpio.h>
#include <zephyr/init.h>

/* Ensure SPIS CSN pin (P0.6, the camera's LVLD line) is pulled up before the
 * SPIS driver probes.
 * Some external devices may hold the line low at reset, which causes the
 * nrfx SPIS init to fail. By configuring a pull-up early, we avoid an
 * asserted CSN during probe.
 */
static int spis_csn_pullup_init(void)
{
    const struct device *gpio = DEVICE_DT_GET(DT_NODELABEL(gpio0));
    if (!device_is_ready(gpio)) {
        return 0;
    }
    gpio_pin_configure(gpio, 6, GPIO_INPUT | GPIO_PULL_UP);
    return 0;
}

SYS_INIT(spis_csn_pullup_init, PRE_KERNEL_1, 0);
```
